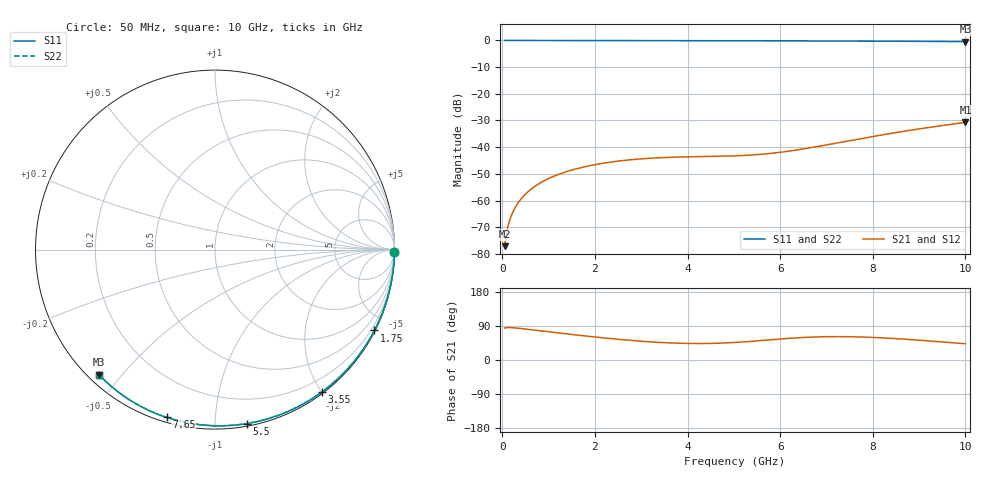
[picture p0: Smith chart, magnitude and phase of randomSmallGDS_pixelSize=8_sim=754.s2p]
! freq	dB(S11)	phase(S11)	dB(S12)	phase(S12)
!  dB(S21)	phase(S21)	dB(S22)	phase(S22)
!S-par simulation data
#  GHz  S  DB  R 50
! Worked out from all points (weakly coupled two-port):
!   200 points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, 50 MHz to 10 GHz, reference 50 ohm
!   highest |S21| = -30.72 dB at 10 GHz (marker M1); lowest = -77.1 dB at 50 MHz (marker M2)
!   lowest |S11| = -0.4 dB at 10 GHz (marker M3), VSWR 39.38, Z = 1.51 - j21.8 ohm
!   |S11| at or under -10 dB: nowhere
!   |S22| runs from -0.4 to 0.0 dB; largest |S21 - S12| = 0
!   S11 on the Smith chart (normalised r, x): 50 MHz: open; 1.75 GHz: 0.04, -4.18; 3.55 GHz: 0.02, -2.00; 5.5 GHz: 0.02, -1.20; 7.65 GHz: 0.02, -0.75; 10 GHz: 0.03, -0.44
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0.05  -0.00 -0.8  -77.11 84.4  -77.11 84.4  -0.00 -0.8
0.1  -0.00 -1.6  -71.37 85.5  -71.37 85.5  -0.00 -1.6
0.15  -0.00 -2.3  -67.92 85.6  -67.92 85.6  -0.00 -2.3
0.2  -0.00 -3.1  -65.45 85.4  -65.45 85.4  -0.00 -3.1
0.25  -0.00 -3.9  -63.53 84.9  -63.53 84.9  -0.00 -3.9
0.35  -0.00 -5.5  -60.64 83.7  -60.64 83.7  -0.00 -5.5
0.5  -0.01 -7.8  -57.58 81.7  -57.58 81.7  -0.01 -7.8
0.7  -0.01 -10.9  -54.72 78.9  -54.72 78.9  -0.01 -10.9
1  -0.02 -15.5  -51.77 74.5  -51.77 74.5  -0.02 -15.5
1.35  -0.03 -20.8  -49.38 69.5  -49.38 69.5  -0.03 -20.8
1.75  -0.03 -26.9  -47.46 64.0  -47.46 64.0  -0.03 -26.9
2.5  -0.05 -38.1  -45.23 54.6  -45.23 54.6  -0.05 -38.1
3.4  -0.07 -51.1  -43.95 46.4  -43.95 46.4  -0.07 -51.1
3.55  -0.07 -53.2  -43.84 45.5  -43.84 45.5  -0.07 -53.2
4.3  -0.09 -63.7  -43.52 43.5  -43.52 43.5  -0.09 -63.7
5.05  -0.11 -73.7  -43.23 46.5  -43.23 46.5  -0.11 -73.7
5.5  -0.13 -79.6  -42.80 50.4  -42.80 50.4  -0.13 -79.6
6.05  -0.15 -86.6  -41.82 55.8  -41.82 55.8  -0.15 -86.6
6.7  -0.18 -94.7  -40.08 60.5  -40.08 60.5  -0.18 -94.7
7.65  -0.24 -106.1  -37.08 61.0  -37.08 61.0  -0.24 -106.1
8.35  -0.29 -114.3  -34.95 57.4  -34.95 57.4  -0.29 -114.3
10  -0.44 -132.9  -30.72 42.8  -30.72 42.8  -0.44 -132.9
